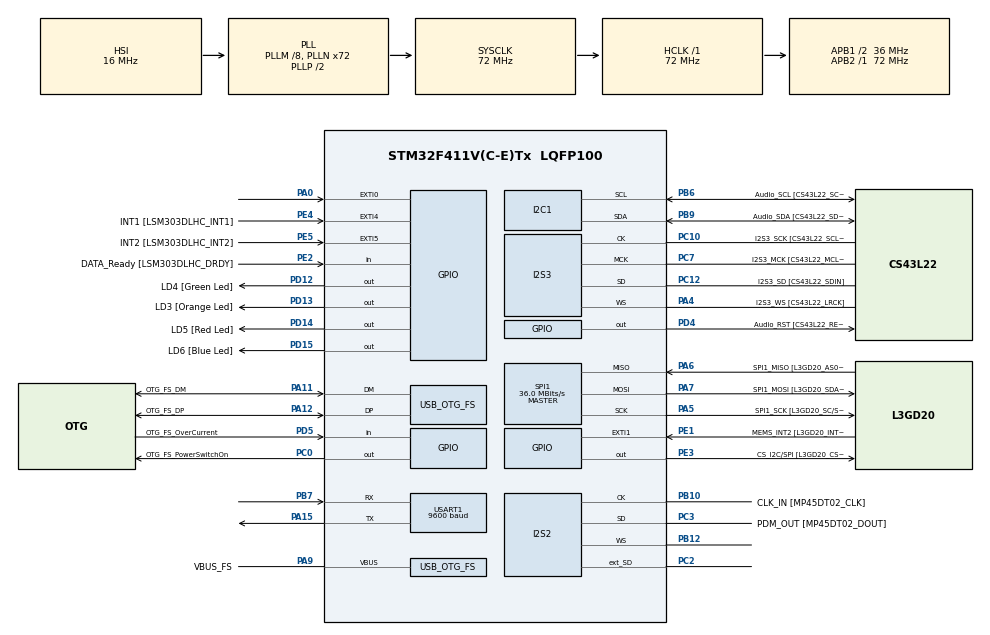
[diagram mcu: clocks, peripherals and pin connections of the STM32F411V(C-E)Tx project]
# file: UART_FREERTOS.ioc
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Dma.Request0=USART1_RX
Dma.Request1=USART1_TX
Dma.USART1_RX.0.Direction=DMA_PERIPH_TO_MEMORY
Dma.USART1_RX.0.FIFOMode=DMA_FIFOMODE_DISABLE
Dma.USART1_RX.0.Instance=DMA2_Stream2
Dma.USART1_RX.0.MemDataAlignment=DMA_MDATAALIGN_BYTE
Dma.USART1_RX.0.MemInc=DMA_MINC_ENABLE
Dma.USART1_RX.0.Mode=DMA_NORMAL
Dma.USART1_RX.0.PeriphDataAlignment=DMA_PDATAALIGN_BYTE
Dma.USART1_RX.0.PeriphInc=DMA_PINC_DISABLE
Dma.USART1_RX.0.Priority=DMA_PRIORITY_LOW
Dma.USART1_TX.1.Direction=DMA_MEMORY_TO_PERIPH
Dma.USART1_TX.1.FIFOMode=DMA_FIFOMODE_DISABLE
Dma.USART1_TX.1.Instance=DMA2_Stream7
Dma.USART1_TX.1.MemDataAlignment=DMA_MDATAALIGN_BYTE
Dma.USART1_TX.1.MemInc=DMA_MINC_ENABLE
Dma.USART1_TX.1.Mode=DMA_NORMAL
Dma.USART1_TX.1.PeriphDataAlignment=DMA_PDATAALIGN_BYTE
Dma.USART1_TX.1.PeriphInc=DMA_PINC_DISABLE
Dma.USART1_TX.1.Priority=DMA_PRIORITY_LOW
FREERTOS.Tasks01=defaultTask,24,1024,StartDefaultTask,Default,NULL,Dynamic,NULL,NULL;UART_task,24,128,StartUART_task,Default,NULL,Dynamic,NULL,NULL;UART_send_task,8,128,StartUART_send_task,Default,NULL,Dynamic,NULL,NULL
FREERTOS.configTOTAL_HEAP_SIZE=30360
FREERTOS.configUSE_NEWLIB_REENTRANT=1
I2S2.AudioFreq=I2S_AUDIOFREQ_96K
I2S2.ErrorAudioFreq=0.15 %
I2S2.FullDuplexMode=I2S_FULLDUPLEXMODE_ENABLE
I2S2.Instance=SPI$Index
I2S2.RealAudioFreq=96.153 KHz
I2S2.VirtualMode=I2S_MODE_MASTER
I2S3.AudioFreq=I2S_AUDIOFREQ_96K
I2S3.ErrorAudioFreq=-6.99 %
I2S3.FullDuplexMode=I2S_FULLDUPLEXMODE_DISABLE
I2S3.Instance=SPI$Index
I2S3.RealAudioFreq=89.285 KHz
I2S3.VirtualMode=I2S_MODE_MASTER
Mcu.Family=STM32F4
Mcu.Name=STM32F411V(C-E)Tx
Mcu.Package=LQFP100
NVIC.DMA2_Stream2_IRQn=true\:5\:0\:false\:false\:true\:true\:false\:true\:true
NVIC.DMA2_Stream7_IRQn=true\:5\:0\:false\:false\:true\:true\:false\:true\:true
NVIC.OTG_FS_IRQn=true\:5\:0\:false\:false\:true\:true\:true\:true\:true
NVIC.PriorityGroup=NVIC_PRIORITYGROUP_4
NVIC.TIM1_UP_TIM10_IRQn=true\:15\:0\:false\:false\:true\:false\:false\:true\:true
NVIC.TimeBase=TIM1_UP_TIM10_IRQn
NVIC.TimeBaseIP=TIM1
NVIC.USART1_IRQn=true\:5\:0\:false\:false\:true\:true\:true\:true\:true
PA0-WKUP.GPIO_ModeDefaultEXTI=GPIO_MODE_EVT_RISING
PA0-WKUP.Signal=GPXTI0
PA10.GPIO_Label=OTG_FS_ID
PA10.Signal=USB_OTG_FS_ID
PA11.GPIO_Label=OTG_FS_DM
PA11.Mode=Host_Only
PA11.Signal=USB_OTG_FS_DM
PA12.GPIO_Label=OTG_FS_DP
PA12.Mode=Host_Only
PA12.Signal=USB_OTG_FS_DP
PA13.GPIO_Label=SWDIO
PA13.Mode=Serial_Wire
PA13.Signal=SYS_JTMS-SWDIO
PA14.GPIO_Label=SWCLK
PA14.Mode=Serial_Wire
PA14.Signal=SYS_JTCK-SWCLK
PA15.Mode=Asynchronous
PA15.Signal=USART1_TX
PA4.GPIO_Label=I2S3_WS [CS43L22_LRCK]
PA4.GPIO_Mode=GPIO_MODE_AF_PP
PA4.GPIO_PuPd=GPIO_NOPULL
PA4.GPIO_Speed=GPIO_SPEED_FREQ_LOW
PA4.Mode=Half_Duplex_Master
PA4.Signal=I2S3_WS
PA5.GPIO_Label=SPI1_SCK [L3GD20_SC/SPC]
PA5.Mode=Full_Duplex_Master
PA5.Signal=SPI1_SCK
PA6.GPIO_Label=SPI1_MISO [L3GD20_AS0/SDO]
PA6.Mode=Full_Duplex_Master
PA6.Signal=SPI1_MISO
PA7.GPIO_Label=SPI1_MOSI [L3GD20_SDA/SDI/SDO]
PA7.Mode=Full_Duplex_Master
PA7.Signal=SPI1_MOSI
PA9.GPIO_Label=VBUS_FS
PA9.Mode=Activate_VBUS
PA9.Signal=USB_OTG_FS_VBUS
PB10.GPIO_Label=CLK_IN [MP45DT02_CLK]
PB10.Mode=Full_Duplex_Master
PB10.Signal=I2S2_CK
PB12.Mode=Full_Duplex_Master
PB12.Signal=I2S2_WS
PB3.GPIO_Label=SWO
PB3.Signal=SYS_JTDO-SWO
PB6.GPIO_Label=Audio_SCL [CS43L22_SCL]
PB6.GPIO_Mode=GPIO_MODE_AF_OD
PB6.GPIO_Pu=GPIO_PULLUP
PB6.GPIO_PuPd=GPIO_NOPULL
PB6.GPIO_Speed=GPIO_SPEED_FREQ_LOW
PB6.Mode=I2C
PB6.Signal=I2C1_SCL
PB7.Mode=Asynchronous
PB7.Signal=USART1_RX
PB9.GPIO_Label=Audio_SDA [CS43L22_SDA]
PB9.GPIO_Mode=GPIO_MODE_AF_OD
PB9.GPIO_Pu=GPIO_PULLUP
PB9.GPIO_PuPd=GPIO_NOPULL
PB9.GPIO_Speed=GPIO_SPEED_FREQ_LOW
PB9.Mode=I2C
PB9.Signal=I2C1_SDA
PC0.GPIO_Label=OTG_FS_PowerSwitchOn
PC0.PinState=GPIO_PIN_SET
PC0.Signal=GPIO_Output
PC10.GPIO_Label=I2S3_SCK [CS43L22_SCLK]
PC10.GPIO_Mode=GPIO_MODE_AF_PP
PC10.GPIO_PuPd=GPIO_NOPULL
PC10.GPIO_Speed=GPIO_SPEED_FREQ_LOW
PC10.Mode=Half_Duplex_Master
PC10.Signal=I2S3_CK
PC12.GPIO_Label=I2S3_SD [CS43L22_SDIN]
PC12.GPIO_Mode=GPIO_MODE_AF_PP
PC12.GPIO_PuPd=GPIO_NOPULL
PC12.GPIO_Speed=GPIO_SPEED_FREQ_LOW
PC12.Mode=Half_Duplex_Master
PC12.Signal=I2S3_SD
PC14-OSC32_IN.GPIO_Label=PC14-OSC32_IN
PC14-OSC32_IN.Mode=LSE-External-Oscillator
PC14-OSC32_IN.Signal=RCC_OSC32_IN
PC15-OSC32_OUT.GPIO_Label=PC15-OSC32_OUT
PC15-OSC32_OUT.Mode=LSE-External-Oscillator
PC15-OSC32_OUT.Signal=RCC_OSC32_OUT
PC2.Mode=Full_Duplex_Master
PC2.Signal=I2S2_ext_SD
PC3.GPIO_Label=PDM_OUT [MP45DT02_DOUT]
PC3.Mode=Full_Duplex_Master
PC3.Signal=I2S2_SD
PC7.GPIO_Label=I2S3_MCK [CS43L22_MCLK]
PC7.GPIO_Mode=GPIO_MODE_AF_PP
PC7.GPIO_PuPd=GPIO_NOPULL
PC7.GPIO_Speed=GPIO_SPEED_FREQ_LOW
PC7.Mode=Master_Clock_Activated
PC7.Signal=I2S3_MCK
PD12.GPIO_Label=LD4 [Green Led]
PD12.GPIO_PuPd=GPIO_NOPULL
PD12.GPIO_Speed=GPIO_SPEED_FREQ_LOW
PD12.Signal=GPIO_Output
PD13.GPIO_Label=LD3 [Orange Led]
PD13.GPIO_PuPd=GPIO_NOPULL
PD13.GPIO_Speed=GPIO_SPEED_FREQ_LOW
PD13.Signal=GPIO_Output
PD14.GPIO_Label=LD5 [Red Led]
PD14.GPIO_PuPd=GPIO_NOPULL
PD14.GPIO_Speed=GPIO_SPEED_FREQ_LOW
PD14.Signal=GPIO_Output
PD15.GPIO_Label=LD6 [Blue Led]
PD15.GPIO_PuPd=GPIO_NOPULL
PD15.GPIO_Speed=GPIO_SPEED_FREQ_LOW
PD15.Signal=GPIO_Output
PD4.GPIO_Label=Audio_RST [CS43L22_RESET]
PD4.Signal=GPIO_Output
PD5.GPIO_Label=OTG_FS_OverCurrent
PD5.Signal=GPIO_Input
PE1.GPIO_Label=MEMS_INT2 [L3GD20_INT2]
PE1.GPIO_ModeDefaultEXTI=GPIO_MODE_EVT_RISING
PE1.Signal=GPXTI1
PE2.GPIO_Label=DATA_Ready [LSM303DLHC_DRDY]
PE2.Signal=GPIO_Input
PE3.GPIO_Label=CS_I2C/SPI [L3GD20_CS_I2C/SPI]
PE3.Signal=GPIO_Output
PE4.GPIO_Label=INT1 [LSM303DLHC_INT1]
PE4.GPIO_ModeDefaultEXTI=GPIO_MODE_EVT_RISING
PE4.Signal=GPXTI4
PE5.GPIO_Label=INT2 [LSM303DLHC_INT2]
PE5.GPIO_ModeDefaultEXTI=GPIO_MODE_EVT_RISING
PE5.Signal=GPXTI5
PH0\ -\ OSC_IN.GPIO_Label=PH0-OSC_IN
PH0\ -\ OSC_IN.Mode=HSE-External-Clock-Source
PH0\ -\ OSC_IN.Signal=RCC_OSC_IN
PH1\ -\ OSC_OUT.GPIO_Label=PH1-OSC_OUT
PH1\ -\ OSC_OUT.Mode=HSE-External-Clock-Source
PH1\ -\ OSC_OUT.Signal=RCC_OSC_OUT
ProjectManager.HeapSize=0x200
ProjectManager.StackSize=0x400
ProjectManager.TargetToolchain=STM32CubeIDE
RCC.48MHZClocksFreq_Value=48000000
RCC.AHBFreq_Value=72000000
RCC.APB1CLKDivider=RCC_HCLK_DIV2
RCC.APB1Freq_Value=36000000
RCC.APB1TimFreq_Value=72000000
RCC.APB2Freq_Value=72000000
RCC.APB2TimFreq_Value=72000000
RCC.CortexFreq_Value=72000000
RCC.HCLKFreq_Value=72000000
RCC.HSE_VALUE=8000000
RCC.HSI_VALUE=16000000
RCC.PLLI2SM=10
RCC.PLLI2SN=200
RCC.PLLM=8
RCC.PLLN=72
RCC.PLLQ=3
RCC.PLLSource=RCC_PLLSOURCE_HSI
RCC.SYSCLKFreq_VALUE=72000000
RCC.SYSCLKSource=RCC_SYSCLKSOURCE_PLLCLK
RCC.VCOOutputFreq_Value=144000000
SPI1.BaudRatePrescaler=SPI_BAUDRATEPRESCALER_2
SPI1.CalculateBaudRate=36.0 MBits/s
SPI1.Direction=SPI_DIRECTION_2LINES
SPI1.Mode=SPI_MODE_MASTER
SPI1.VirtualType=VM_MASTER
USART1.BaudRate=9600
USART1.VirtualMode=VM_ASYNC
USB_HOST.BSP.number=1
USB_HOST.USBH_HandleTypeDef=hUsbHostFS
USB_HOST.VirtualModeFS=Cdc
USB_HOST0.BSP.STBoard=false
USB_HOST0.BSP.api=Unknown
USB_HOST0.BSP.instance=PC0
USB_HOST0.BSP.ip=GPIO
USB_HOST0.BSP.mode=Output
USB_HOST0.BSP.name=Drive_VBUS_FS
USB_HOST0.BSP.solution=PC0
USB_OTG_FS.VirtualMode=Host_Only
USB_OTG_FS.phy_itface=HCD_PHY_EMBEDDED
VP_FREERTOS_VS_CMSIS_V2.Mode=CMSIS_V2
VP_SYS_VS_tim1.Mode=TIM1
VP_USB_HOST_VS_USB_HOST_CDC_FS.Mode=CDC_FS
board=STM32F411E-DISCO

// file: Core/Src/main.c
/* USER CODE BEGIN Header */
/**
  ******************************************************************************
  * @file           : main.c
  * @brief          : Main program body
  ******************************************************************************
  * @attention
  *
  * Copyright (c) 2023 STMicroelectronics.
  * All rights reserved.
  *
  * This software is licensed under terms that can be found in the LICENSE file
  * in the root directory of this software component.
  * If no LICENSE file comes with this software, it is provided AS-IS.
  *
  ******************************************************************************
  */
/* USER CODE END Header */
#include "main.h"
#include "cmsis_os.h"
#include "usb_host.h"

/* USER CODE BEGIN Includes */

#include "stdlib.h"
#include "stdio.h"
#include "string.h"
#include "queue.h"

/* USER CODE END Includes */

I2C_HandleTypeDef hi2c1;

I2S_HandleTypeDef hi2s2;
I2S_HandleTypeDef hi2s3;

SPI_HandleTypeDef hspi1;

UART_HandleTypeDef huart1;
DMA_HandleTypeDef hdma_usart1_rx;
DMA_HandleTypeDef hdma_usart1_tx;

/* Definitions for defaultTask */
osThreadId_t defaultTaskHandle;
const osThreadAttr_t defaultTask_attributes = {
  .name = "defaultTask",
  .stack_size = 1024 * 4,
  .priority = (osPriority_t) osPriorityNormal,
};
/* Definitions for UART_task */
osThreadId_t UART_taskHandle;
const osThreadAttr_t UART_task_attributes = {
  .name = "UART_task",
  .stack_size = 128 * 4,
  .priority = (osPriority_t) osPriorityNormal,
};
/* Definitions for UART_send_task */
osThreadId_t UART_send_taskHandle;
const osThreadAttr_t UART_send_task_attributes = {
  .name = "UART_send_task",
  .stack_size = 128 * 4,
  .priority = (osPriority_t) osPriorityLow,
};
/* USER CODE BEGIN PV */

#define HLDC_BUFFER_SIZE 4096
#define HDLC_FLAG_SEQUENCE 0x7E
#define HLDC_ESCAPE_CHARACTER 0x7D
#define HLDC_BIT_STUFFING_XOR 0x20
#define HDLC_MIN_PAKET_LENGTH 2

typedef struct HDLC_Frame_Struct {
    uint8_t data[HLDC_BUFFER_SIZE];
    uint16_t length;
} HDLC_Frame_Struct;

QueueHandle_t hdlcQueue;

//uint8_t hldc_buffer* = hldc_buffer[HLDC_BUFFER_SIZE]; //TODO implement instead of queue

static HDLC_Frame_Struct currentFrame = { {0}, 0 };
static uint16_t currentFrameIndex = 0;

/* USER CODE END PV */

void SystemClock_Config(void);
void PeriphCommonClock_Config(void);
static void MX_GPIO_Init(void);
static void MX_DMA_Init(void);
static void MX_I2C1_Init(void);
static void MX_I2S2_Init(void);
static void MX_I2S3_Init(void);
static void MX_SPI1_Init(void);
static void MX_USART1_UART_Init(void);
void StartDefaultTask(void *argument);
void StartUART_task(void *argument);
void StartUART_send_task(void *argument);

/* USER CODE BEGIN 0 */

int _write(int file, char *ptr, int len)
{
  /* Implement your write code here, this is used by puts and printf for example */
  int i=0;
  for(i=0 ; i<len ; i++)
    ITM_SendChar((*ptr++));
  return len;
}

/* USER CODE END 0 */

int main(void)
{
  /* USER CODE BEGIN 1 */

  void print_debug_msg(const char* msg);

  /* USER CODE END 1 */

  /* MCU Configuration--------------------------------------------------------*/

  /* Reset of all peripherals, Initializes the Flash interface and the Systick. */
  HAL_Init();

  /* Configure the system clock */
  SystemClock_Config();

/* Configure the peripherals common clocks */
  PeriphCommonClock_Config();

  /* Initialize all configured peripherals */
  MX_GPIO_Init();
  MX_DMA_Init();
  MX_I2C1_Init();
  MX_I2S2_Init();
  MX_I2S3_Init();
  MX_SPI1_Init();
  MX_USART1_UART_Init();
  /* USER CODE BEGIN 2 */

  printf("Starting. Lets go!\n");
  HAL_UART_Receive_DMA(&huart1, &currentFrame.data[currentFrameIndex], 1);
  hdlcQueue = xQueueCreate(2, sizeof(HDLC_Frame_Struct));
  if( hdlcQueue == NULL )
  {
      /* Queue was not created and must not be used. */
	  print_debug_msg("Warning: No queue created!\n");
  }

  /* USER CODE END 2 */

  /* Init scheduler */
  osKernelInitialize();

  /* Create the thread(s) */
  /* creation of defaultTask */
  defaultTaskHandle = osThreadNew(StartDefaultTask, NULL, &defaultTask_attributes);

  /* creation of UART_task */
  UART_taskHandle = osThreadNew(StartUART_task, NULL, &UART_task_attributes);

  /* creation of UART_send_task */
  UART_send_taskHandle = osThreadNew(StartUART_send_task, NULL, &UART_send_task_attributes);

  /* Start scheduler */
  osKernelStart();
  /* We should never get here as control is now taken by the scheduler */
  /* Infinite loop */
  while (1)
  {

  }
}

void SystemClock_Config(void)
{
  RCC_OscInitTypeDef RCC_OscInitStruct = {0};
  RCC_ClkInitTypeDef RCC_ClkInitStruct = {0};

  /** Configure the main internal regulator output voltage
  */
  __HAL_RCC_PWR_CLK_ENABLE();
  __HAL_PWR_VOLTAGESCALING_CONFIG(PWR_REGULATOR_VOLTAGE_SCALE1);

  /** Initializes the RCC Oscillators according to the specified parameters
  * in the RCC_OscInitTypeDef structure.
  */
  RCC_OscInitStruct.OscillatorType = RCC_OSCILLATORTYPE_HSI;
  RCC_OscInitStruct.HSIState = RCC_HSI_ON;
  RCC_OscInitStruct.HSICalibrationValue = RCC_HSICALIBRATION_DEFAULT;
  RCC_OscInitStruct.PLL.PLLState = RCC_PLL_ON;
  RCC_OscInitStruct.PLL.PLLSource = RCC_PLLSOURCE_HSI;
  RCC_OscInitStruct.PLL.PLLM = 8;
  RCC_OscInitStruct.PLL.PLLN = 72;
  RCC_OscInitStruct.PLL.PLLP = RCC_PLLP_DIV2;
  RCC_OscInitStruct.PLL.PLLQ = 3;
  if (HAL_RCC_OscConfig(&RCC_OscInitStruct) != HAL_OK)
  {
    Error_Handler();
  }

  /** Initializes the CPU, AHB and APB buses clocks
  */
  RCC_ClkInitStruct.ClockType = RCC_CLOCKTYPE_HCLK|RCC_CLOCKTYPE_SYSCLK
                              |RCC_CLOCKTYPE_PCLK1|RCC_CLOCKTYPE_PCLK2;
  RCC_ClkInitStruct.SYSCLKSource = RCC_SYSCLKSOURCE_PLLCLK;
  RCC_ClkInitStruct.AHBCLKDivider = RCC_SYSCLK_DIV1;
  RCC_ClkInitStruct.APB1CLKDivider = RCC_HCLK_DIV2;
  RCC_ClkInitStruct.APB2CLKDivider = RCC_HCLK_DIV1;

  if (HAL_RCC_ClockConfig(&RCC_ClkInitStruct, FLASH_LATENCY_2) != HAL_OK)
  {
    Error_Handler();
  }
}

void PeriphCommonClock_Config(void)
{
  RCC_PeriphCLKInitTypeDef PeriphClkInitStruct = {0};

  /** Initializes the peripherals clock
  */
  PeriphClkInitStruct.PeriphClockSelection = RCC_PERIPHCLK_I2S;
  PeriphClkInitStruct.PLLI2S.PLLI2SN = 200;
  PeriphClkInitStruct.PLLI2S.PLLI2SM = 10;
  PeriphClkInitStruct.PLLI2S.PLLI2SR = 2;
  if (HAL_RCCEx_PeriphCLKConfig(&PeriphClkInitStruct) != HAL_OK)
  {
    Error_Handler();
  }
}

static void MX_I2C1_Init(void)
{

  hi2c1.Instance = I2C1;
  hi2c1.Init.ClockSpeed = 100000;
  hi2c1.Init.DutyCycle = I2C_DUTYCYCLE_2;
  hi2c1.Init.OwnAddress1 = 0;
  hi2c1.Init.AddressingMode = I2C_ADDRESSINGMODE_7BIT;
  hi2c1.Init.DualAddressMode = I2C_DUALADDRESS_DISABLE;
  hi2c1.Init.OwnAddress2 = 0;
  hi2c1.Init.GeneralCallMode = I2C_GENERALCALL_DISABLE;
  hi2c1.Init.NoStretchMode = I2C_NOSTRETCH_DISABLE;
  if (HAL_I2C_Init(&hi2c1) != HAL_OK)
  {
    Error_Handler();
  }

}

static void MX_I2S2_Init(void)
{

  hi2s2.Instance = SPI2;
  hi2s2.Init.Mode = I2S_MODE_MASTER_TX;
  hi2s2.Init.Standard = I2S_STANDARD_PHILIPS;
  hi2s2.Init.DataFormat = I2S_DATAFORMAT_16B;
  hi2s2.Init.MCLKOutput = I2S_MCLKOUTPUT_DISABLE;
  hi2s2.Init.AudioFreq = I2S_AUDIOFREQ_96K;
  hi2s2.Init.CPOL = I2S_CPOL_LOW;
  hi2s2.Init.ClockSource = I2S_CLOCK_PLL;
  hi2s2.Init.FullDuplexMode = I2S_FULLDUPLEXMODE_ENABLE;
  if (HAL_I2S_Init(&hi2s2) != HAL_OK)
  {
    Error_Handler();
  }

}

static void MX_I2S3_Init(void)
{

  hi2s3.Instance = SPI3;
  hi2s3.Init.Mode = I2S_MODE_MASTER_TX;
  hi2s3.Init.Standard = I2S_STANDARD_PHILIPS;
  hi2s3.Init.DataFormat = I2S_DATAFORMAT_16B;
  hi2s3.Init.MCLKOutput = I2S_MCLKOUTPUT_ENABLE;
  hi2s3.Init.AudioFreq = I2S_AUDIOFREQ_96K;
  hi2s3.Init.CPOL = I2S_CPOL_LOW;
  hi2s3.Init.ClockSource = I2S_CLOCK_PLL;
  hi2s3.Init.FullDuplexMode = I2S_FULLDUPLEXMODE_DISABLE;
  if (HAL_I2S_Init(&hi2s3) != HAL_OK)
  {
    Error_Handler();
  }

}

static void MX_SPI1_Init(void)
{

  /* SPI1 parameter configuration*/
  hspi1.Instance = SPI1;
  hspi1.Init.Mode = SPI_MODE_MASTER;
  hspi1.Init.Direction = SPI_DIRECTION_2LINES;
  hspi1.Init.DataSize = SPI_DATASIZE_8BIT;
  hspi1.Init.CLKPolarity = SPI_POLARITY_LOW;
  hspi1.Init.CLKPhase = SPI_PHASE_1EDGE;
  hspi1.Init.NSS = SPI_NSS_SOFT;
  hspi1.Init.BaudRatePrescaler = SPI_BAUDRATEPRESCALER_2;
  hspi1.Init.FirstBit = SPI_FIRSTBIT_MSB;
  hspi1.Init.TIMode = SPI_TIMODE_DISABLE;
  hspi1.Init.CRCCalculation = SPI_CRCCALCULATION_DISABLE;
  hspi1.Init.CRCPolynomial = 10;
  if (HAL_SPI_Init(&hspi1) != HAL_OK)
  {
    Error_Handler();
  }

}

static void MX_USART1_UART_Init(void)
{

  huart1.Instance = USART1;
  huart1.Init.BaudRate = 9600;
  huart1.Init.WordLength = UART_WORDLENGTH_8B;
  huart1.Init.StopBits = UART_STOPBITS_1;
  huart1.Init.Parity = UART_PARITY_NONE;
  huart1.Init.Mode = UART_MODE_TX_RX;
  huart1.Init.HwFlowCtl = UART_HWCONTROL_NONE;
  huart1.Init.OverSampling = UART_OVERSAMPLING_16;
  if (HAL_UART_Init(&huart1) != HAL_OK)
  {
    Error_Handler();
  }

}

static void MX_DMA_Init(void)
{

  /* DMA controller clock enable */
  __HAL_RCC_DMA2_CLK_ENABLE();

  /* DMA interrupt init */
  /* DMA2_Stream2_IRQn interrupt configuration */
  HAL_NVIC_SetPriority(DMA2_Stream2_IRQn, 5, 0);
  HAL_NVIC_EnableIRQ(DMA2_Stream2_IRQn);
  /* DMA2_Stream7_IRQn interrupt configuration */
  HAL_NVIC_SetPriority(DMA2_Stream7_IRQn, 5, 0);
  HAL_NVIC_EnableIRQ(DMA2_Stream7_IRQn);

}

static void MX_GPIO_Init(void)
{
  GPIO_InitTypeDef GPIO_InitStruct = {0};

  /* GPIO Ports Clock Enable */
  __HAL_RCC_GPIOE_CLK_ENABLE();
  __HAL_RCC_GPIOC_CLK_ENABLE();
  __HAL_RCC_GPIOH_CLK_ENABLE();
  __HAL_RCC_GPIOA_CLK_ENABLE();
  __HAL_RCC_GPIOB_CLK_ENABLE();
  __HAL_RCC_GPIOD_CLK_ENABLE();

  /*Configure GPIO pin Output Level */
  HAL_GPIO_WritePin(CS_I2C_SPI_GPIO_Port, CS_I2C_SPI_Pin, GPIO_PIN_RESET);

  /*Configure GPIO pin Output Level */
  HAL_GPIO_WritePin(OTG_FS_PowerSwitchOn_GPIO_Port, OTG_FS_PowerSwitchOn_Pin, GPIO_PIN_SET);

  /*Configure GPIO pin Output Level */
  HAL_GPIO_WritePin(GPIOD, LD4_Pin|LD3_Pin|LD5_Pin|LD6_Pin
                          |Audio_RST_Pin, GPIO_PIN_RESET);

  /*Configure GPIO pin : DATA_Ready_Pin */
  GPIO_InitStruct.Pin = DATA_Ready_Pin;
  GPIO_InitStruct.Mode = GPIO_MODE_INPUT;
  GPIO_InitStruct.Pull = GPIO_NOPULL;
  HAL_GPIO_Init(DATA_Ready_GPIO_Port, &GPIO_InitStruct);

  /*Configure GPIO pin : CS_I2C_SPI_Pin */
  GPIO_InitStruct.Pin = CS_I2C_SPI_Pin;
  GPIO_InitStruct.Mode = GPIO_MODE_OUTPUT_PP;
  GPIO_InitStruct.Pull = GPIO_NOPULL;
  GPIO_InitStruct.Speed = GPIO_SPEED_FREQ_LOW;
  HAL_GPIO_Init(CS_I2C_SPI_GPIO_Port, &GPIO_InitStruct);

  /*Configure GPIO pins : INT1_Pin INT2_Pin MEMS_INT2_Pin */
  GPIO_InitStruct.Pin = INT1_Pin|INT2_Pin|MEMS_INT2_Pin;
  GPIO_InitStruct.Mode = GPIO_MODE_EVT_RISING;
  GPIO_InitStruct.Pull = GPIO_NOPULL;
  HAL_GPIO_Init(GPIOE, &GPIO_InitStruct);

  /*Configure GPIO pin : OTG_FS_PowerSwitchOn_Pin */
  GPIO_InitStruct.Pin = OTG_FS_PowerSwitchOn_Pin;
  GPIO_InitStruct.Mode = GPIO_MODE_OUTPUT_PP;
  GPIO_InitStruct.Pull = GPIO_NOPULL;
  GPIO_InitStruct.Speed = GPIO_SPEED_FREQ_LOW;
  HAL_GPIO_Init(OTG_FS_PowerSwitchOn_GPIO_Port, &GPIO_InitStruct);

  /*Configure GPIO pin : PA0 */
  GPIO_InitStruct.Pin = GPIO_PIN_0;
  GPIO_InitStruct.Mode = GPIO_MODE_EVT_RISING;
  GPIO_InitStruct.Pull = GPIO_NOPULL;
  HAL_GPIO_Init(GPIOA, &GPIO_InitStruct);

  /*Configure GPIO pins : LD4_Pin LD3_Pin LD5_Pin LD6_Pin
                           Audio_RST_Pin */
  GPIO_InitStruct.Pin = LD4_Pin|LD3_Pin|LD5_Pin|LD6_Pin
                          |Audio_RST_Pin;
  GPIO_InitStruct.Mode = GPIO_MODE_OUTPUT_PP;
  GPIO_InitStruct.Pull = GPIO_NOPULL;
  GPIO_InitStruct.Speed = GPIO_SPEED_FREQ_LOW;
  HAL_GPIO_Init(GPIOD, &GPIO_InitStruct);

  /*Configure GPIO pin : OTG_FS_OverCurrent_Pin */
  GPIO_InitStruct.Pin = OTG_FS_OverCurrent_Pin;
  GPIO_InitStruct.Mode = GPIO_MODE_INPUT;
  GPIO_InitStruct.Pull = GPIO_NOPULL;
  HAL_GPIO_Init(OTG_FS_OverCurrent_GPIO_Port, &GPIO_InitStruct);

}

/* USER CODE BEGIN 4 */

void print_debug_msg(const char* msg) {
    if(msg != NULL) {
    	HAL_UART_Transmit_DMA(&huart1, (uint8_t*)msg, strlen(msg));
    }
}

void HAL_UART_RxCpltCallback(UART_HandleTypeDef *huart)
{
    // If the end flag sequence is received
    if (currentFrame.data[currentFrameIndex] == HDLC_FLAG_SEQUENCE)
    {
        if (currentFrameIndex >= HDLC_MIN_PAKET_LENGTH)
        {
            // A complete frame has been received
            currentFrame.length = currentFrameIndex;
            // Send the frame to the queue
            HDLC_Frame_Struct currentFrameCopy = currentFrame;
            BaseType_t xHigherPriorityTaskWoken = pdFALSE;
            if(xQueueSendFromISR(hdlcQueue, &currentFrameCopy, &xHigherPriorityTaskWoken) == pdTRUE) {
                    // Message was successfully posted to the queue
            }

            // If xHigherPriorityTaskWoken was set to true, a context switch should be requested
            portYIELD_FROM_ISR(xHigherPriorityTaskWoken);

        }
        currentFrameIndex = 0;
    }
    else
    {
        // Increment the index
        currentFrameIndex++;

        // To avoid buffer overflow
        if(currentFrameIndex >= HLDC_BUFFER_SIZE)
        {
            currentFrameIndex = 0;
        }
    }

    //TODO Receiving without DMA, bc just 1 byte

    // Wait for the next data
    HAL_UART_Receive_DMA(&huart1, &currentFrame.data[currentFrameIndex], 1);
}

#define HDLC_FLAG_SEQUENCE 0x7E
#define HDLC_CONTROL_ESCAPE 0x7D
#define HDLC_ESCAPE_BIT_FLIP 0x20

void destuff_hdlc_frame(HDLC_Frame_Struct *frame, uint8_t *destuffed_data, uint16_t *destuffed_length){

    *destuffed_length = 0;

    // Flag to keep track of escape characters
    int escape_flag = 0;

    for(int i = 0; i < frame->length; i++) {
        if(frame->data[i] == HDLC_CONTROL_ESCAPE) {
            escape_flag = 1;
        } else {
            if(escape_flag) {
                // If the previous character was an escape character,
                // flip the 5th bit of the current character
                destuffed_data[*destuffed_length] = frame->data[i] ^ HDLC_ESCAPE_BIT_FLIP;
                escape_flag = 0;
            } else {
                // No escape character, so just copy the data
                destuffed_data[*destuffed_length] = frame->data[i];
            }
            (*destuffed_length)++;
        }
    }

    // Now destuffed_data contains the destuffed data, and destuffed_length is its length.
    // You can process this data as needed.

    // Debug print the destuffed data:
    char msg[128]; // 3 characters per byte (2 hex digits and a space)
    for(int i = 0; i < *destuffed_length; i++) {
        sprintf(msg + (i * 3), "%02X ", destuffed_data[i]);
    }
    /*
    print_debug_msg("Destuffed data: ");
    print_debug_msg(msg);
    print_debug_msg("\n");
    */
}

void bit_stuff(uint8_t *data, uint16_t length, uint8_t *stuffed_data, uint16_t *stuffed_length) {
    *stuffed_length = 0;

    for(int i = 0; i < length; i++) {
        uint8_t byte = data[i];

        // If the byte is equal to the control escape or flag sequence,
        // add an escape byte and then the byte XOR'd with the escape bit flip
        if (byte == HDLC_CONTROL_ESCAPE || byte == HDLC_FLAG_SEQUENCE) {
        	stuffed_data[(*stuffed_length)++] = HDLC_CONTROL_ESCAPE;
        	stuffed_data[(*stuffed_length)++] = byte ^ HDLC_ESCAPE_BIT_FLIP;
        } else {
            // Otherwise, just copy the byte
        	stuffed_data[(*stuffed_length)++] = byte;
        }
    }
}

void encode_hldc_frame(uint8_t *data, uint16_t length, HDLC_Frame_Struct *frame) {
	uint16_t encoded_length = 0;
    uint16_t stuffed_length;
    uint8_t stuffed_data[HLDC_BUFFER_SIZE];
    bit_stuff(data, length, stuffed_data, &stuffed_length);

    frame->data[encoded_length++] = HDLC_FLAG_SEQUENCE;

    for(int i = 0; i < stuffed_length; i++) {
        uint8_t byte = stuffed_data[i];
        frame->data[encoded_length++] = byte;
    }

	frame->data[encoded_length++] = HDLC_FLAG_SEQUENCE;

	frame->length = encoded_length;
}

/* USER CODE END 4 */

void StartDefaultTask(void *argument)
{
  /* init code for USB_HOST */
  MX_USB_HOST_Init();
  for(;;)
  {
    osDelay(1);
  }
}

void StartUART_task(void *argument)
{
  /* USER CODE BEGIN StartUART_task */

  HDLC_Frame_Struct hdlcFrame;

  print_debug_msg("Starting UART task\n");
  for(;;)
  {
      if(xQueueReceive(hdlcQueue, &hdlcFrame, ( TickType_t ) 10 ) == pdPASS)
      {
          // Process the received HDLC frame
    	  uint8_t destuffed_data[HLDC_BUFFER_SIZE];
    	  uint16_t destuffed_length = 0;
          destuff_hdlc_frame(&hdlcFrame, destuffed_data, &destuffed_length);
          encode_hldc_frame(destuffed_data, destuffed_length, &hdlcFrame);
          HAL_UART_Transmit_DMA(&huart1, hdlcFrame.data, hdlcFrame.length);
      }
  }
  /* USER CODE END StartUART_task */
}

void StartUART_send_task(void *argument)
{
  /* USER CODE BEGIN StartUART_send_task */
  /* Infinite loop */
  for(;;)
  {
	//print_debug_msg("looping\n");

    osDelay(1);
  }
  /* USER CODE END StartUART_send_task */
}

void HAL_TIM_PeriodElapsedCallback(TIM_HandleTypeDef *htim)
{
  if (htim->Instance == TIM1) {
    HAL_IncTick();
  }
}

void Error_Handler(void)
{
  __disable_irq();
  while (1)
  {
  }
}
